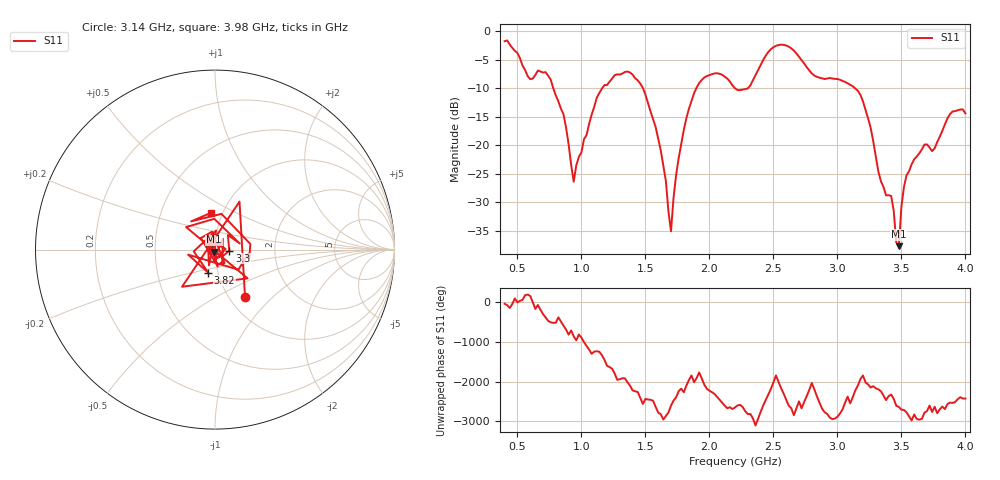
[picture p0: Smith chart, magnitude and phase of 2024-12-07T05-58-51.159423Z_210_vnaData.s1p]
!Created with skrf (http://scikit-rf.org).
# Hz S RI R 50.0
!freq ReS11 ImS11
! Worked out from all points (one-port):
!   181 points, 400 MHz to 4 GHz, reference 50 ohm
!   lowest |S11| = -37.7 dB at 3.48 GHz (marker M1), VSWR 1.03, Z = 49.4 - j1.17 ohm
!   |S11| at or under -10 dB: 779.9 MHz to 1.162 GHz (382.4 MHz wide, 39.4 % of centre); 1.481 GHz to 1.898 GHz (417 MHz wide, 24.7 % of centre); 3.138 GHz to end of sweep (the widest 3 of 4)
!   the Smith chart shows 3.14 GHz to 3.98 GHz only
!   S11 on the Smith chart (normalised r, x): 3.14 GHz: 1.18, -0.70; 3.3 GHz: 1.17, -0.01; 3.82 GHz: 0.90, -0.24; 3.98 GHz: 0.88, +0.38
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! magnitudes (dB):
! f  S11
! 400 MHz  -1.8
! 600 MHz  -8.4
! 720 MHz  -7.2
! 860 MHz  -14.6
! 940 MHz  -26.4
! 1.12 GHz  -11.7
! 1.3 GHz  -7.6
! 1.5 GHz  -11.1
! 1.62 GHz  -20.9
! 1.7 GHz  -35.1
! 1.76 GHz  -22.3
! 1.92 GHz  -9.1
! 2.2 GHz  -10.0
! 2.3 GHz  -10.0
! 2.5 GHz  -2.8
! 2.66 GHz  -3.4
! 3.1 GHz  -9.4
! 3.14 GHz  -10.0
! 3.3 GHz  -22.0
! 3.38 GHz  -28.8
! 3.42 GHz  -28.9
! 3.46 GHz  -37.0
! 3.48 GHz  -37.7
! 3.52 GHz  -27.3
! 3.56 GHz  -24.5
! 3.82 GHz  -17.5
! 3.98 GHz  -13.7
! 4 GHz  -14.4
